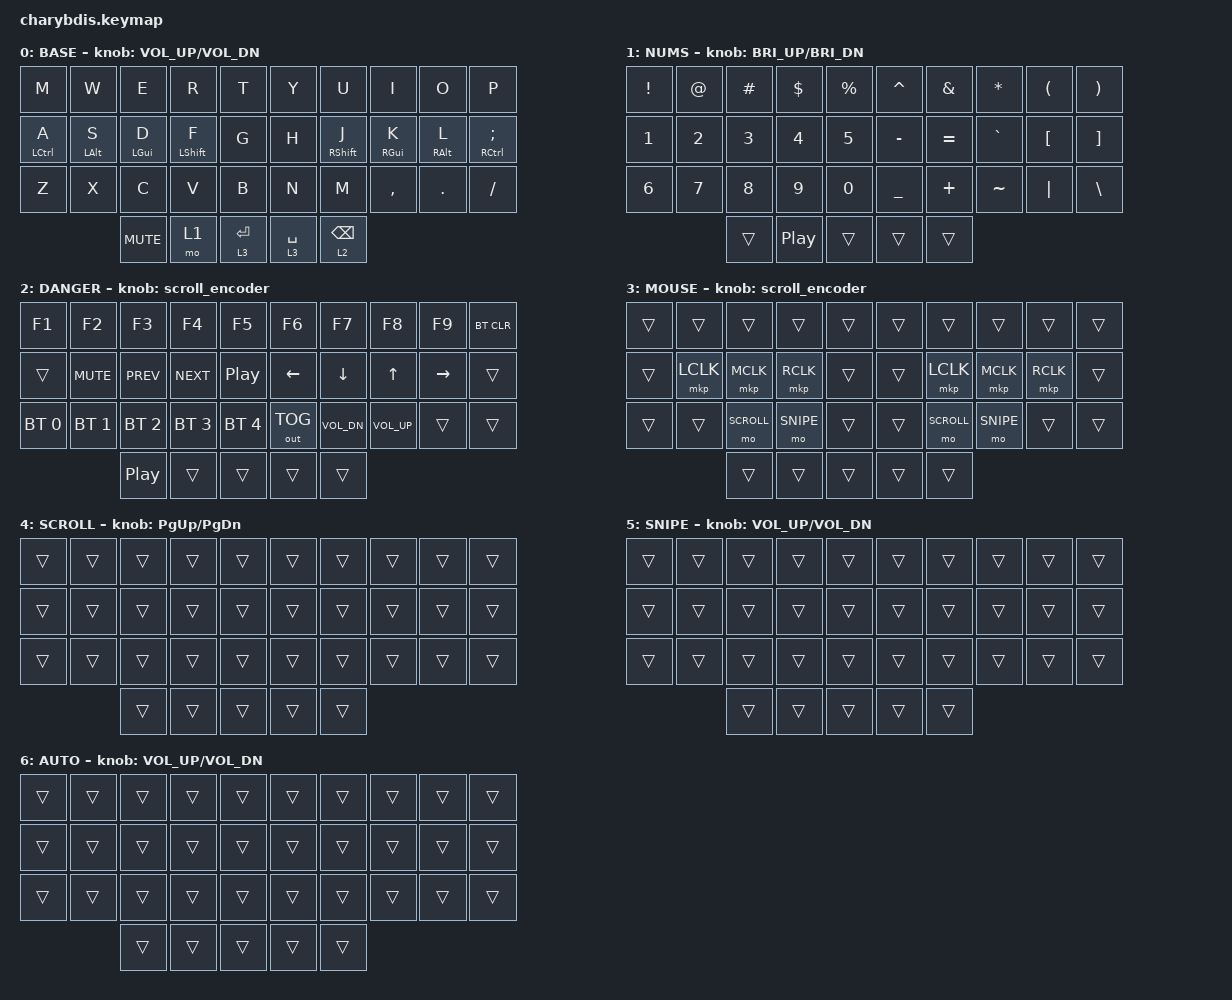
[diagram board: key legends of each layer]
#include <behaviors.dtsi>

#include <dt-bindings/zmk/bt.h>
#include <dt-bindings/zmk/keys.h>

#define ZMK_POINTING_DEFAULT_SCRL_VAL 150
#include <dt-bindings/zmk/pointing.h>

#include <dt-bindings/zmk/ext_power.h>
#include <dt-bindings/zmk/outputs.h>

#include "layers.h"

#include "behaviors.dtsi"
#include "combos.dtsi"

&lt {
    tapping-term-ms = <160>; // hold time before a layer-tap activates the layer instead of sending the tap key
};

/ {
    keymap {
        compatible = "zmk,keymap";

        BASE {
            display-name = "BASE";
            bindings = <
            // ╭─────────────┬─────────────┬─────────────┬──────────────┬─────────────╮   ╭─────────────┬──────────────┬─────────────┬─────────────┬────────────────╮
                 &kp M         &kp W         &kp E         &kp R          &kp T             &kp Y         &kp U          &kp I         &kp O         &kp P
            // ├─────────────┼─────────────┼─────────────┼──────────────┼─────────────┤   ├─────────────┼──────────────┼─────────────┼─────────────┼────────────────┤
                 &hm_l LCTRL A &hm_l LALT S  &hm_l LGUI D  &hm_l LSHFT F  &kp G             &kp H         &hm_r RSHFT J  &hm_r RGUI K  &hm_r RALT L  &hm_r RCTRL SEMI
            // ├─────────────┼─────────────┼─────────────┼──────────────┼─────────────┤   ├─────────────┼──────────────┼─────────────┼─────────────┼────────────────┤
                 &kp Z         &kp X         &kp C         &kp V          &kp B             &kp N         &kp M          &kp COMMA     &kp DOT       &kp SLASH
            // ╰─────────────┴─────────────┼─────────────┼──────────────┼─────────────┤   ├─────────────┼──────────────┼─────────────┴─────────────┴────────────────╯
                                             &kp C_MUTE    &mo 1          &lt 3 ENTER       &lt 3 SPACE   &lt 2 BSPC
            //                             ╰─────────────┴──────────────┴─────────────╯   ╰─────────────┴──────────────╯
            >;
            sensor-bindings = <&inc_dec_kp C_VOL_UP C_VOL_DN>;
        };

        NUMS {
            display-name = "NUMS";
            bindings = <
            // ╭─────────────┬─────────────┬─────────────┬──────────────┬─────────────╮   ╭─────────────┬──────────────┬─────────────┬─────────────┬────────────────╮
                 &kp EXCL      &kp AT        &kp HASH      &kp DLLR       &kp PRCNT         &kp CARET     &kp AMPS       &kp ASTRK     &kp LPAR      &kp RPAR
            // ├─────────────┼─────────────┼─────────────┼──────────────┼─────────────┤   ├─────────────┼──────────────┼─────────────┼─────────────┼────────────────┤
                 &kp N1        &kp N2        &kp N3        &kp N4         &kp N5            &kp MINUS     &kp EQUAL      &kp GRAVE     &kp LBKT      &kp RBKT
            // ├─────────────┼─────────────┼─────────────┼──────────────┼─────────────┤   ├─────────────┼──────────────┼─────────────┼─────────────┼────────────────┤
                 &kp N6        &kp N7        &kp N8        &kp N9         &kp N0            &kp UNDER     &kp PLUS       &kp TILDE     &kp PIPE      &kp BSLH
            // ╰─────────────┴─────────────┼─────────────┼──────────────┼─────────────┤   ├─────────────┼──────────────┼─────────────┴─────────────┴────────────────╯
                                             &trans        &kp C_PP       &trans            &trans        &trans
            //                             ╰─────────────┴──────────────┴─────────────╯   ╰─────────────┴──────────────╯
            >;
            sensor-bindings = <&inc_dec_kp C_BRI_UP C_BRI_DN>;
        };

        DANGER {
            display-name = "DANGER";
            bindings = <
            // ╭─────────────┬─────────────┬─────────────┬──────────────┬─────────────╮   ╭─────────────┬──────────────┬─────────────┬─────────────┬────────────────╮
                 &kp F1        &kp F2        &kp F3        &kp F4         &kp F5            &kp F6        &kp F7         &kp F8        &kp F9        &bt BT_CLR
            // ├─────────────┼─────────────┼─────────────┼──────────────┼─────────────┤   ├─────────────┼──────────────┼─────────────┼─────────────┼────────────────┤
                 &trans        &kp C_MUTE    &kp C_PREV    &kp C_NEXT     &kp C_PP          &kp LEFT      &kp DOWN       &kp UP        &kp RIGHT     &trans
            // ├─────────────┼─────────────┼─────────────┼──────────────┼─────────────┤   ├─────────────┼──────────────┼─────────────┼─────────────┼────────────────┤
                 &bt BT_SEL 0  &bt BT_SEL 1  &bt BT_SEL 2  &bt BT_SEL 3   &bt BT_SEL 4      &out OUT_TOG  &kp C_VOL_DN   &kp C_VOL_UP  &trans        &trans
            // ╰─────────────┴─────────────┼─────────────┼──────────────┼─────────────┤   ├─────────────┼──────────────┼─────────────┴─────────────┴────────────────╯
                                             &kp C_PP      &trans         &trans            &trans        &trans
            //                             ╰─────────────┴──────────────┴─────────────╯   ╰─────────────┴──────────────╯
            >;
            sensor-bindings = <&scroll_encoder>;
        };

        MOUSE {
            display-name = "MOUSE";
            bindings = <
            // ╭─────────────┬─────────────┬─────────────┬──────────────┬─────────────╮   ╭─────────────┬──────────────┬─────────────┬─────────────┬────────────────╮
                 &trans        &trans        &trans        &trans         &trans            &trans        &trans         &trans        &trans        &trans
            // ├─────────────┼─────────────┼─────────────┼──────────────┼─────────────┤   ├─────────────┼──────────────┼─────────────┼─────────────┼────────────────┤
                 &trans        &mkp LCLK     &mkp MCLK     &mkp RCLK      &trans            &trans        &mkp LCLK      &mkp MCLK     &mkp RCLK     &trans
            // ├─────────────┼─────────────┼─────────────┼──────────────┼─────────────┤   ├─────────────┼──────────────┼─────────────┼─────────────┼────────────────┤
                 &trans        &trans        &mo SCROLL    &mo SNIPE      &trans            &trans        &mo SCROLL     &mo SNIPE     &trans        &trans
            // ╰─────────────┴─────────────┼─────────────┼──────────────┼─────────────┤   ├─────────────┼──────────────┼─────────────┴─────────────┴────────────────╯
                                             &trans        &trans         &trans            &trans        &trans
            //                             ╰─────────────┴──────────────┴─────────────╯   ╰─────────────┴──────────────╯
            >;
            sensor-bindings = <&scroll_encoder>;
        };

        SCROLL {
            display-name = "SCROLL";
            bindings = <
            // ╭─────────────┬─────────────┬─────────────┬──────────────┬─────────────╮   ╭─────────────┬──────────────┬─────────────┬─────────────┬────────────────╮
                 &trans        &trans        &trans        &trans         &trans            &trans        &trans         &trans        &trans        &trans
            // ├─────────────┼─────────────┼─────────────┼──────────────┼─────────────┤   ├─────────────┼──────────────┼─────────────┼─────────────┼────────────────┤
                 &trans        &trans        &trans        &trans         &trans            &trans        &trans         &trans        &trans        &trans
            // ├─────────────┼─────────────┼─────────────┼──────────────┼─────────────┤   ├─────────────┼──────────────┼─────────────┼─────────────┼────────────────┤
                 &trans        &trans        &trans        &trans         &trans            &trans        &trans         &trans        &trans        &trans
            // ╰─────────────┴─────────────┼─────────────┼──────────────┼─────────────┤   ├─────────────┼──────────────┼─────────────┴─────────────┴────────────────╯
                                             &trans        &trans         &trans            &trans        &trans
            //                             ╰─────────────┴──────────────┴─────────────╯   ╰─────────────┴──────────────╯
            >;
            sensor-bindings = <&inc_dec_kp PG_UP PG_DN>;
        };

        SNIPE {
            display-name = "SNIPE";
            bindings = <
            // ╭─────────────┬─────────────┬─────────────┬──────────────┬─────────────╮   ╭─────────────┬──────────────┬─────────────┬─────────────┬────────────────╮
                 &trans        &trans        &trans        &trans         &trans            &trans        &trans         &trans        &trans        &trans
            // ├─────────────┼─────────────┼─────────────┼──────────────┼─────────────┤   ├─────────────┼──────────────┼─────────────┼─────────────┼────────────────┤
                 &trans        &trans        &trans        &trans         &trans            &trans        &trans         &trans        &trans        &trans
            // ├─────────────┼─────────────┼─────────────┼──────────────┼─────────────┤   ├─────────────┼──────────────┼─────────────┼─────────────┼────────────────┤
                 &trans        &trans        &trans        &trans         &trans            &trans        &trans         &trans        &trans        &trans
            // ╰─────────────┴─────────────┼─────────────┼──────────────┼─────────────┤   ├─────────────┼──────────────┼─────────────┴─────────────┴────────────────╯
                                             &trans        &trans         &trans            &trans        &trans
            //                             ╰─────────────┴──────────────┴─────────────╯   ╰─────────────┴──────────────╯
            >;
            sensor-bindings = <&inc_dec_kp C_VOL_UP C_VOL_DN>;
        };

        AUTO {
            display-name = "AUTO";
            bindings = <
            // ╭─────────────┬─────────────┬─────────────┬──────────────┬─────────────╮   ╭─────────────┬──────────────┬─────────────┬─────────────┬────────────────╮
                 &trans        &trans        &trans        &trans         &trans            &trans        &trans         &trans        &trans        &trans
            // ├─────────────┼─────────────┼─────────────┼──────────────┼─────────────┤   ├─────────────┼──────────────┼─────────────┼─────────────┼────────────────┤
                 &trans        &trans        &trans        &trans         &trans            &trans        &trans         &trans        &trans        &trans
            // ├─────────────┼─────────────┼─────────────┼──────────────┼─────────────┤   ├─────────────┼──────────────┼─────────────┼─────────────┼────────────────┤
                 &trans        &trans        &trans        &trans         &trans            &trans        &trans         &trans        &trans        &trans
            // ╰─────────────┴─────────────┼─────────────┼──────────────┼─────────────┤   ├─────────────┼──────────────┼─────────────┴─────────────┴────────────────╯
                                             &trans        &trans         &trans            &trans        &trans
            //                             ╰─────────────┴──────────────┴─────────────╯   ╰─────────────┴──────────────╯
            >;
            sensor-bindings = <&inc_dec_kp C_VOL_UP C_VOL_DN>;
        };
    };
};
